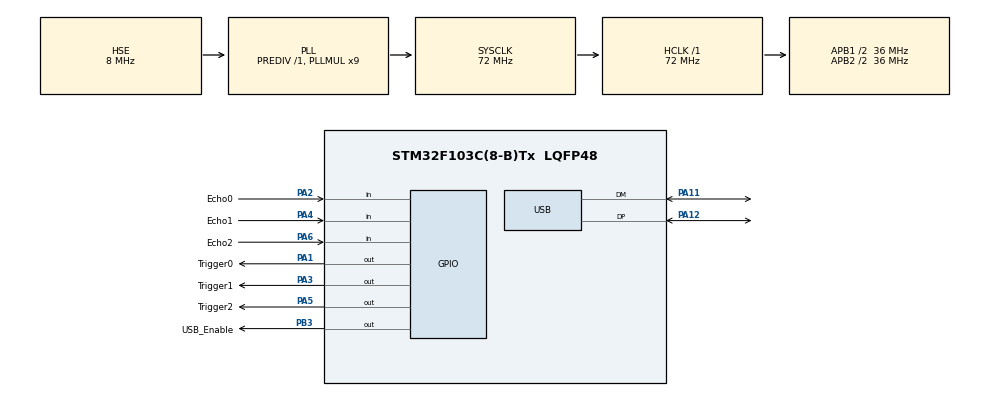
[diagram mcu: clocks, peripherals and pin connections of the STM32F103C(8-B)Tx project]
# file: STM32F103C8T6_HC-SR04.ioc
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Mcu.Family=STM32F1
Mcu.Name=STM32F103C(8-B)Tx
Mcu.Package=LQFP48
NVIC.PriorityGroup=NVIC_PRIORITYGROUP_4
NVIC.TIM2_IRQn=true\:0\:0\:false\:false\:true\:true\:true
NVIC.USB_LP_CAN1_RX0_IRQn=true\:0\:0\:false\:false\:true\:false\:true
PA1.GPIO_Label=Trigger0
PA1.GPIO_Speed=GPIO_SPEED_FREQ_HIGH
PA1.Signal=GPIO_Output
PA11.Mode=Device
PA11.Signal=USB_DM
PA12.Mode=Device
PA12.Signal=USB_DP
PA13.Mode=Serial_Wire
PA13.Signal=SYS_JTMS-SWDIO
PA14.Mode=Serial_Wire
PA14.Signal=SYS_JTCK-SWCLK
PA2.GPIO_Label=Echo0
PA2.Signal=GPIO_Input
PA3.GPIO_Label=Trigger1
PA3.GPIO_Speed=GPIO_SPEED_FREQ_HIGH
PA3.Signal=GPIO_Output
PA4.GPIO_Label=Echo1
PA4.Signal=GPIO_Input
PA5.GPIO_Label=Trigger2
PA5.GPIO_Speed=GPIO_SPEED_FREQ_HIGH
PA5.Signal=GPIO_Output
PA6.GPIO_Label=Echo2
PA6.Signal=GPIO_Input
PB3.GPIO_Label=USB_Enable
PB3.GPIO_Speed=GPIO_SPEED_FREQ_HIGH
PB3.Signal=GPIO_Output
PD0-OSC_IN.Mode=HSE-External-Oscillator
PD0-OSC_IN.Signal=RCC_OSC_IN
PD1-OSC_OUT.Mode=HSE-External-Oscillator
PD1-OSC_OUT.Signal=RCC_OSC_OUT
ProjectManager.HeapSize=0x200
ProjectManager.StackSize=0x400
ProjectManager.TargetToolchain=STM32CubeIDE
RCC.AHBFreq_Value=72000000
RCC.APB1CLKDivider=RCC_HCLK_DIV2
RCC.APB1Freq_Value=36000000
RCC.APB1TimFreq_Value=72000000
RCC.APB2CLKDivider=RCC_HCLK_DIV2
RCC.APB2Freq_Value=36000000
RCC.APB2TimFreq_Value=72000000
RCC.HCLKFreq_Value=72000000
RCC.PLLMUL=RCC_PLL_MUL9
RCC.PLLSourceVirtual=RCC_PLLSOURCE_HSE
RCC.SYSCLKFreq_VALUE=72000000
RCC.SYSCLKSource=RCC_SYSCLKSOURCE_PLLCLK
RCC.USBFreq_Value=48000000
RCC.USBPrescaler=RCC_USBCLKSOURCE_PLL_DIV1_5
TIM2.Period=57
TIM2.Prescaler=72
USB_DEVICE.CLASS_NAME_FS=CDC
USB_DEVICE.MANUFACTURER_STRING=Viktor Vano
USB_DEVICE.PRODUCT_STRING_CDC_FS=STM32 Com Port
USB_DEVICE.VirtualMode=Cdc
USB_DEVICE.VirtualModeFS=Cdc_FS
VP_TIM2_VS_ClockSourceINT.Mode=Internal
VP_USB_DEVICE_VS_USB_DEVICE_CDC_FS.Mode=CDC_FS
board=custom

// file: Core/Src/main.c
/* USER CODE BEGIN Header */
/**
  ******************************************************************************
  * @file           : main.c
  * @brief          : Main program body
  ******************************************************************************
  * @attention
  *
  * <h2><center>&copy; Copyright (c) 2020 STMicroelectronics.
  * All rights reserved.</center></h2>
  *
  * This software component is licensed by ST under BSD 3-Clause license,
  * the "License"; You may not use this file except in compliance with the
  * License. You may obtain a copy of the License at:
  *                        opensource.org/licenses/BSD-3-Clause
  *
  ******************************************************************************
  */
/* USER CODE END Header */
#include "main.h"
#include "usb_device.h"

/* USER CODE BEGIN Includes */
#include "myLibrary.h"
/* USER CODE END Includes */

TIM_HandleTypeDef htim2;

void SystemClock_Config(void);
static void MX_GPIO_Init(void);
static void MX_TIM2_Init(void);

int main(void)
{

  /* MCU Configuration--------------------------------------------------------*/

  /* Reset of all peripherals, Initializes the Flash interface and the Systick. */
  HAL_Init();

  /* Configure the system clock */
  SystemClock_Config();

  /* Initialize all configured peripherals */
  MX_GPIO_Init();
  MX_TIM2_Init();
  MX_USB_DEVICE_Init();
  /* USER CODE BEGIN 2 */
  HAL_Delay(500);
  HAL_GPIO_WritePin(USB_Enable_GPIO_Port, USB_Enable_Pin, GPIO_PIN_SET);

  char message[200], number[8];
  uint16_t distancesInCm[3];
  /* USER CODE END 2 */

  /* Infinite loop */
  while (1)
  {

    /* USER CODE BEGIN 3 */
	  HAL_Delay(900);
	  CDC_Transmit_FS((uint8_t*)&"\n\n\nMeasuring Distances...\n", strlen("\n\n\nMeasuring Distances...\n"));
	  HAL_Delay(100);
	  memset(message, 0, 200);
	  for(uint16_t i=0; i<3; i++)
	  {
		  sensor = i;//update sensor index in timer2
		  distancesInCm[i] = measureDistance(triggerPorts[i], triggerPins[i], echoPorts[i], echoPins[i]);
		  memset(number, 0, 8);
		  itoa(distancesInCm[i], number, 10);
		  strcat(message, number);
		  strcat(message, " cm\n");
	  }
	  CDC_Transmit_FS((uint8_t*)&message, strlen(message));
  }
  /* USER CODE END 3 */
}

void SystemClock_Config(void)
{
  RCC_OscInitTypeDef RCC_OscInitStruct = {0};
  RCC_ClkInitTypeDef RCC_ClkInitStruct = {0};
  RCC_PeriphCLKInitTypeDef PeriphClkInit = {0};

  /** Initializes the RCC Oscillators according to the specified parameters
  * in the RCC_OscInitTypeDef structure.
  */
  RCC_OscInitStruct.OscillatorType = RCC_OSCILLATORTYPE_HSE;
  RCC_OscInitStruct.HSEState = RCC_HSE_ON;
  RCC_OscInitStruct.HSEPredivValue = RCC_HSE_PREDIV_DIV1;
  RCC_OscInitStruct.HSIState = RCC_HSI_ON;
  RCC_OscInitStruct.PLL.PLLState = RCC_PLL_ON;
  RCC_OscInitStruct.PLL.PLLSource = RCC_PLLSOURCE_HSE;
  RCC_OscInitStruct.PLL.PLLMUL = RCC_PLL_MUL9;
  if (HAL_RCC_OscConfig(&RCC_OscInitStruct) != HAL_OK)
  {
    Error_Handler();
  }
  /** Initializes the CPU, AHB and APB buses clocks
  */
  RCC_ClkInitStruct.ClockType = RCC_CLOCKTYPE_HCLK|RCC_CLOCKTYPE_SYSCLK
                              |RCC_CLOCKTYPE_PCLK1|RCC_CLOCKTYPE_PCLK2;
  RCC_ClkInitStruct.SYSCLKSource = RCC_SYSCLKSOURCE_PLLCLK;
  RCC_ClkInitStruct.AHBCLKDivider = RCC_SYSCLK_DIV1;
  RCC_ClkInitStruct.APB1CLKDivider = RCC_HCLK_DIV2;
  RCC_ClkInitStruct.APB2CLKDivider = RCC_HCLK_DIV2;

  if (HAL_RCC_ClockConfig(&RCC_ClkInitStruct, FLASH_LATENCY_2) != HAL_OK)
  {
    Error_Handler();
  }
  PeriphClkInit.PeriphClockSelection = RCC_PERIPHCLK_USB;
  PeriphClkInit.UsbClockSelection = RCC_USBCLKSOURCE_PLL_DIV1_5;
  if (HAL_RCCEx_PeriphCLKConfig(&PeriphClkInit) != HAL_OK)
  {
    Error_Handler();
  }
}

static void MX_TIM2_Init(void)
{

  TIM_ClockConfigTypeDef sClockSourceConfig = {0};
  TIM_MasterConfigTypeDef sMasterConfig = {0};

  htim2.Instance = TIM2;
  htim2.Init.Prescaler = 72;
  htim2.Init.CounterMode = TIM_COUNTERMODE_UP;
  htim2.Init.Period = 57;
  htim2.Init.ClockDivision = TIM_CLOCKDIVISION_DIV1;
  htim2.Init.AutoReloadPreload = TIM_AUTORELOAD_PRELOAD_DISABLE;
  if (HAL_TIM_Base_Init(&htim2) != HAL_OK)
  {
    Error_Handler();
  }
  sClockSourceConfig.ClockSource = TIM_CLOCKSOURCE_INTERNAL;
  if (HAL_TIM_ConfigClockSource(&htim2, &sClockSourceConfig) != HAL_OK)
  {
    Error_Handler();
  }
  sMasterConfig.MasterOutputTrigger = TIM_TRGO_RESET;
  sMasterConfig.MasterSlaveMode = TIM_MASTERSLAVEMODE_DISABLE;
  if (HAL_TIMEx_MasterConfigSynchronization(&htim2, &sMasterConfig) != HAL_OK)
  {
    Error_Handler();
  }

}

static void MX_GPIO_Init(void)
{
  GPIO_InitTypeDef GPIO_InitStruct = {0};

  /* GPIO Ports Clock Enable */
  __HAL_RCC_GPIOD_CLK_ENABLE();
  __HAL_RCC_GPIOA_CLK_ENABLE();
  __HAL_RCC_GPIOB_CLK_ENABLE();

  /*Configure GPIO pin Output Level */
  HAL_GPIO_WritePin(GPIOA, Trigger0_Pin|Trigger1_Pin|Trigger2_Pin, GPIO_PIN_RESET);

  /*Configure GPIO pin Output Level */
  HAL_GPIO_WritePin(USB_Enable_GPIO_Port, USB_Enable_Pin, GPIO_PIN_RESET);

  /*Configure GPIO pins : Trigger0_Pin Trigger1_Pin Trigger2_Pin */
  GPIO_InitStruct.Pin = Trigger0_Pin|Trigger1_Pin|Trigger2_Pin;
  GPIO_InitStruct.Mode = GPIO_MODE_OUTPUT_PP;
  GPIO_InitStruct.Pull = GPIO_NOPULL;
  GPIO_InitStruct.Speed = GPIO_SPEED_FREQ_HIGH;
  HAL_GPIO_Init(GPIOA, &GPIO_InitStruct);

  /*Configure GPIO pins : Echo0_Pin Echo1_Pin Echo2_Pin */
  GPIO_InitStruct.Pin = Echo0_Pin|Echo1_Pin|Echo2_Pin;
  GPIO_InitStruct.Mode = GPIO_MODE_INPUT;
  GPIO_InitStruct.Pull = GPIO_NOPULL;
  HAL_GPIO_Init(GPIOA, &GPIO_InitStruct);

  /*Configure GPIO pin : USB_Enable_Pin */
  GPIO_InitStruct.Pin = USB_Enable_Pin;
  GPIO_InitStruct.Mode = GPIO_MODE_OUTPUT_PP;
  GPIO_InitStruct.Pull = GPIO_NOPULL;
  GPIO_InitStruct.Speed = GPIO_SPEED_FREQ_HIGH;
  HAL_GPIO_Init(USB_Enable_GPIO_Port, &GPIO_InitStruct);

}

void Error_Handler(void)
{
}

/************************ (C) COPYRIGHT STMicroelectronics *****END OF FILE****/
